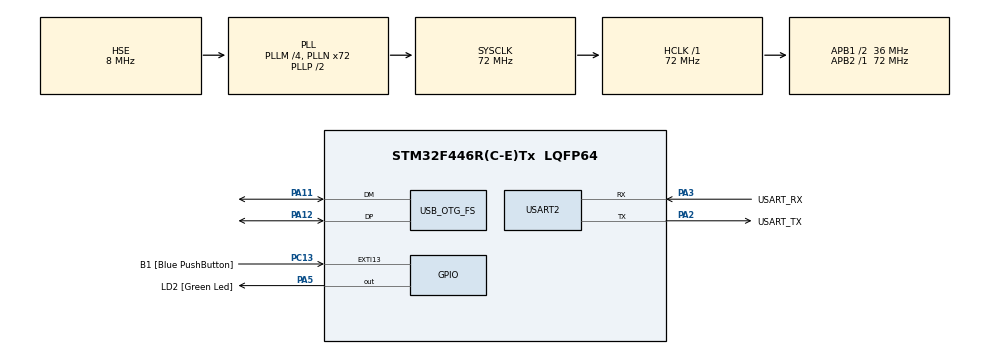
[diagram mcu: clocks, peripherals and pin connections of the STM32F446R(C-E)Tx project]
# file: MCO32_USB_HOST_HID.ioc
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Mcu.Family=STM32F4
Mcu.Name=STM32F446R(C-E)Tx
Mcu.Package=LQFP64
NVIC.OTG_FS_IRQn=true\:0\:0\:false\:false\:true\:false\:true\:true
NVIC.PriorityGroup=NVIC_PRIORITYGROUP_0
PA11.Mode=Host_Only
PA11.Signal=USB_OTG_FS_DM
PA12.Mode=Host_Only
PA12.Signal=USB_OTG_FS_DP
PA13.GPIO_Label=TMS
PA13.Mode=Serial_Wire
PA13.Signal=SYS_JTMS-SWDIO
PA14.GPIO_Label=TCK
PA14.Mode=Serial_Wire
PA14.Signal=SYS_JTCK-SWCLK
PA2.GPIO_Label=USART_TX
PA2.Mode=Asynchronous
PA2.Signal=USART2_TX
PA3.GPIO_Label=USART_RX
PA3.Mode=Asynchronous
PA3.Signal=USART2_RX
PA5.GPIO_Label=LD2 [Green Led]
PA5.Signal=GPIO_Output
PB3.GPIO_Label=SWO
PB3.Signal=SYS_JTDO-SWO
PC13.GPIO_Label=B1 [Blue PushButton]
PC13.GPIO_ModeDefaultEXTI=GPIO_MODE_IT_FALLING
PC13.Signal=GPXTI13
PC14-OSC32_IN.Mode=LSE-External-Oscillator
PC14-OSC32_IN.Signal=RCC_OSC32_IN
PC15-OSC32_OUT.Mode=LSE-External-Oscillator
PC15-OSC32_OUT.Signal=RCC_OSC32_OUT
PH0-OSC_IN.Mode=HSE-External-Oscillator
PH0-OSC_IN.Signal=RCC_OSC_IN
PH1-OSC_OUT.Mode=HSE-External-Oscillator
PH1-OSC_OUT.Signal=RCC_OSC_OUT
ProjectManager.HeapSize=0x200
ProjectManager.StackSize=0x400
ProjectManager.TargetToolchain=STM32CubeIDE
RCC.48MHZClocksFreq_Value=84000000
RCC.AHBFreq_Value=72000000
RCC.APB1CLKDivider=RCC_HCLK_DIV2
RCC.APB1Freq_Value=36000000
RCC.APB1TimFreq_Value=72000000
RCC.APB2Freq_Value=72000000
RCC.APB2TimFreq_Value=72000000
RCC.CortexFreq_Value=72000000
RCC.FLatency-AdvancedSettings=FLASH_LATENCY_2
RCC.HCLKFreq_Value=72000000
RCC.HSE_VALUE=8000000
RCC.HSI_VALUE=16000000
RCC.PLLM=4
RCC.PLLN=72
RCC.PLLQ=3
RCC.SYSCLKFreq_VALUE=72000000
RCC.SYSCLKSource=RCC_SYSCLKSOURCE_PLLCLK
RCC.USBFreq_Value=48000000
RCC.VCOOutputFreq_Value=144000000
USART2.VirtualMode=VM_ASYNC
USB_HOST.USBH_HandleTypeDef-HID_FS=hUsbHostFS
USB_HOST.VirtualModeFS=Hid
USB_OTG_FS.VirtualMode=Host_Only
USB_OTG_FS.phy_itface=HCD_PHY_EMBEDDED
VP_USB_HOST_VS_USB_HOST_HID_FS.Mode=HID_FS
board=NUCLEO-F446RE

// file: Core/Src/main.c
/* USER CODE BEGIN Header */
/**
  ******************************************************************************
  * @file           : main.c
  * @brief          : Main program body
  ******************************************************************************
  * @attention
  *
  * Copyright (c) 2023 STMicroelectronics.
  * All rights reserved.
  *
  * This software is licensed under terms that can be found in the LICENSE file
  * in the root directory of this software component.
  * If no LICENSE file comes with this software, it is provided AS-IS.
  *
  ******************************************************************************
  */
/* USER CODE END Header */
#include "main.h"
#include "usb_host.h"

/* USER CODE BEGIN Includes */
#include "usbh_hid.h"
/* USER CODE END Includes */

UART_HandleTypeDef huart2;

/* USER CODE BEGIN PV */
char Uart_buf[100];
/* USER CODE END PV */

void SystemClock_Config(void);
static void MX_GPIO_Init(void);
static void MX_USART2_UART_Init(void);
void MX_USB_HOST_Process(void);

int main(void)
{

  /* MCU Configuration--------------------------------------------------------*/

  /* Reset of all peripherals, Initializes the Flash interface and the Systick. */
  HAL_Init();

  /* Configure the system clock */
  SystemClock_Config();

  /* Initialize all configured peripherals */
  MX_GPIO_Init();
  MX_USART2_UART_Init();
  MX_USB_HOST_Init();

  /* Infinite loop */
  while (1)
  {
    MX_USB_HOST_Process();

  }
}

void SystemClock_Config(void)
{
  RCC_OscInitTypeDef RCC_OscInitStruct = {0};
  RCC_ClkInitTypeDef RCC_ClkInitStruct = {0};

  /** Configure the main internal regulator output voltage
  */
  __HAL_RCC_PWR_CLK_ENABLE();
  __HAL_PWR_VOLTAGESCALING_CONFIG(PWR_REGULATOR_VOLTAGE_SCALE3);

  /** Initializes the RCC Oscillators according to the specified parameters
  * in the RCC_OscInitTypeDef structure.
  */
  RCC_OscInitStruct.OscillatorType = RCC_OSCILLATORTYPE_HSE;
  RCC_OscInitStruct.HSEState = RCC_HSE_ON;
  RCC_OscInitStruct.PLL.PLLState = RCC_PLL_ON;
  RCC_OscInitStruct.PLL.PLLSource = RCC_PLLSOURCE_HSE;
  RCC_OscInitStruct.PLL.PLLM = 4;
  RCC_OscInitStruct.PLL.PLLN = 72;
  RCC_OscInitStruct.PLL.PLLP = RCC_PLLP_DIV2;
  RCC_OscInitStruct.PLL.PLLQ = 3;
  RCC_OscInitStruct.PLL.PLLR = 2;
  if (HAL_RCC_OscConfig(&RCC_OscInitStruct) != HAL_OK)
  {
    Error_Handler();
  }

  /** Initializes the CPU, AHB and APB buses clocks
  */
  RCC_ClkInitStruct.ClockType = RCC_CLOCKTYPE_HCLK|RCC_CLOCKTYPE_SYSCLK
                              |RCC_CLOCKTYPE_PCLK1|RCC_CLOCKTYPE_PCLK2;
  RCC_ClkInitStruct.SYSCLKSource = RCC_SYSCLKSOURCE_PLLCLK;
  RCC_ClkInitStruct.AHBCLKDivider = RCC_SYSCLK_DIV1;
  RCC_ClkInitStruct.APB1CLKDivider = RCC_HCLK_DIV2;
  RCC_ClkInitStruct.APB2CLKDivider = RCC_HCLK_DIV1;

  if (HAL_RCC_ClockConfig(&RCC_ClkInitStruct, FLASH_LATENCY_2) != HAL_OK)
  {
    Error_Handler();
  }
}

static void MX_USART2_UART_Init(void)
{

  huart2.Instance = USART2;
  huart2.Init.BaudRate = 115200;
  huart2.Init.WordLength = UART_WORDLENGTH_8B;
  huart2.Init.StopBits = UART_STOPBITS_1;
  huart2.Init.Parity = UART_PARITY_NONE;
  huart2.Init.Mode = UART_MODE_TX_RX;
  huart2.Init.HwFlowCtl = UART_HWCONTROL_NONE;
  huart2.Init.OverSampling = UART_OVERSAMPLING_16;
  if (HAL_UART_Init(&huart2) != HAL_OK)
  {
    Error_Handler();
  }

}

static void MX_GPIO_Init(void)
{
  GPIO_InitTypeDef GPIO_InitStruct = {0};

  /* GPIO Ports Clock Enable */
  __HAL_RCC_GPIOC_CLK_ENABLE();
  __HAL_RCC_GPIOH_CLK_ENABLE();
  __HAL_RCC_GPIOA_CLK_ENABLE();
  __HAL_RCC_GPIOB_CLK_ENABLE();

  /*Configure GPIO pin Output Level */
  HAL_GPIO_WritePin(LD2_GPIO_Port, LD2_Pin, GPIO_PIN_RESET);

  /*Configure GPIO pin : B1_Pin */
  GPIO_InitStruct.Pin = B1_Pin;
  GPIO_InitStruct.Mode = GPIO_MODE_IT_FALLING;
  GPIO_InitStruct.Pull = GPIO_NOPULL;
  HAL_GPIO_Init(B1_GPIO_Port, &GPIO_InitStruct);

  /*Configure GPIO pin : LD2_Pin */
  GPIO_InitStruct.Pin = LD2_Pin;
  GPIO_InitStruct.Mode = GPIO_MODE_OUTPUT_PP;
  GPIO_InitStruct.Pull = GPIO_NOPULL;
  GPIO_InitStruct.Speed = GPIO_SPEED_FREQ_LOW;
  HAL_GPIO_Init(LD2_GPIO_Port, &GPIO_InitStruct);

}

/* USER CODE BEGIN 4 */

void USBH_HID_EventCallback(USBH_HandleTypeDef *phost)
{
	if(USBH_HID_GetDeviceType(phost) == HID_MOUSE)
	{
		HID_MOUSE_Info_TypeDef *Mouse_Info;
		Mouse_Info = USBH_HID_GetMouseInfo(phost);
		int X_Val = Mouse_Info->x;
		int Y_Val = Mouse_Info->y;
		if(X_Val > 127) X_Val -= 255;
		//if(Y_Val > 127) Y_Val -= 255;
		int len = sprintf(Uart_buf, "X=%d, Y=%d, Button1=%d, Button2=%d, Button3=%d\r\n", X_Val, Y_Val, \
				Mouse_Info->buttons[0], Mouse_Info->buttons[1], Mouse_Info->buttons[2]);
		HAL_UART_Transmit(&huart2, (uint8_t *)Uart_buf, len, 1000);
	}
	else if(USBH_HID_GetDeviceType(phost) == HID_KEYBOARD)
	{
		HID_KEYBD_Info_TypeDef *Keyboard_Info;
		Keyboard_Info = USBH_HID_GetKeybdInfo(phost);
		char key = USBH_HID_GetASCIICode(Keyboard_Info);
		int len = sprintf(Uart_buf, "Keybord pressed = %c\r\n", key);
		HAL_UART_Transmit(&huart2, (uint8_t *)Uart_buf, len, 1000);
	}
}

/* USER CODE END 4 */

void Error_Handler(void)
{
  __disable_irq();
  while (1)
  {
  }
}
